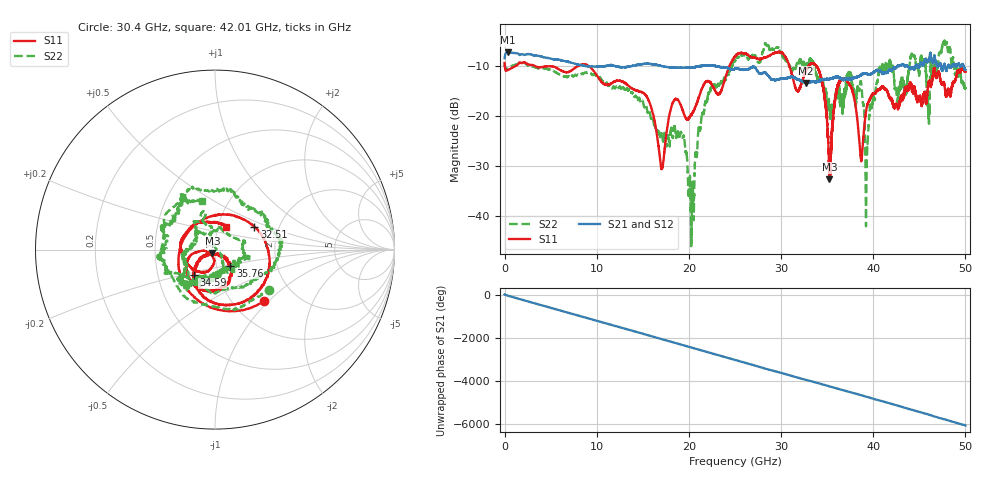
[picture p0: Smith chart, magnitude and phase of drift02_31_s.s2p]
!Created with skrf (http://scikit-rf.org).
# Hz S RI R 50.0
!freq ReS11 ImS11 ReS21 ImS21 ReS12 ImS12 ReS22 ImS22
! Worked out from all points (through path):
!   10001 points, 300 kHz to 50 GHz, reference 50 ohm
!   highest |S21| = -7.31 dB at 325.3 MHz (marker M1); lowest = -13.4 dB at 32.73 GHz (marker M2)
!   group delay of S21, straight-line fit = 335 ps
!   lowest |S11| = -32.7 dB at 35.25 GHz (marker M3), VSWR 1.05, Z = 48.6 - j1.76 ohm
!   |S11| at or under -10 dB: 3.233 GHz to 8.007 GHz (4.774 GHz wide, 85 % of centre); 9.104 GHz to 24.42 GHz (15.31 GHz wide, 91.4 % of centre); 33.83 GHz to 49.66 GHz (15.84 GHz wide, 37.9 % of centre) (the widest 3 of 10)
!   |S22| runs from -46.1 to -4.9 dB; largest |S21 - S12| = 0.015
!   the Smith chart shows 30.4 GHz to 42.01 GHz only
!   S11 on the Smith chart (normalised r, x): 30.4 GHz: 1.37, -0.94; 32.51 GHz: 1.50, +0.40; 34.59 GHz: 0.76, -0.22; 35.76 GHz: 1.17, -0.21; 42.01 GHz: 1.09, +0.28
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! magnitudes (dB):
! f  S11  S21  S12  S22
! 300 kHz  -9.4  -8.5  -8.4  -9.4
! 325.3 MHz  -10.9  -7.3  -7.3  -10.6
! 8.335 GHz  -9.7  -9.9  -9.9  -11.6
! 16.67 GHz  -25.7  -9.9  -9.9  -23.1
! 19.31 GHz  -18.8  -10.4  -10.4  -24.4
! 20.35 GHz  -19.4  -10.4  -10.3  -34.9
! 21.94 GHz  -13.1  -10.0  -10.0  -17.1
! 25 GHz  -8.2  -10.6  -10.6  -9.0
! 30.4 GHz  -8.1  -12.5  -12.5  -8.5
! 32.51 GHz  -12.0  -13.2  -13.2  -9.7
! 32.73 GHz  -10.9  -13.4  -13.5  -10.0
! 33.34 GHz  -9.6  -13.2  -13.2  -9.1
! 34.59 GHz  -14.6  -12.7  -12.7  -13.4
! 35.25 GHz  -32.7  -12.6  -12.7  -17.6
! 35.76 GHz  -18.1  -12.4  -12.4  -18.0
! 37.2 GHz  -13.2  -12.8  -12.7  -11.7
! 38.54 GHz  -26.0  -12.1  -12.0  -14.2
! 39.31 GHz  -18.2  -11.6  -11.6  -28.8
! 41.67 GHz  -15.9  -10.9  -11.1  -9.8
! 42.01 GHz  -17.1  -10.8  -10.8  -11.1
! 47.77 GHz  -14.4  -9.8  -9.7  -5.4
! 50 GHz  -11.2  -10.8  -10.8  -14.5
